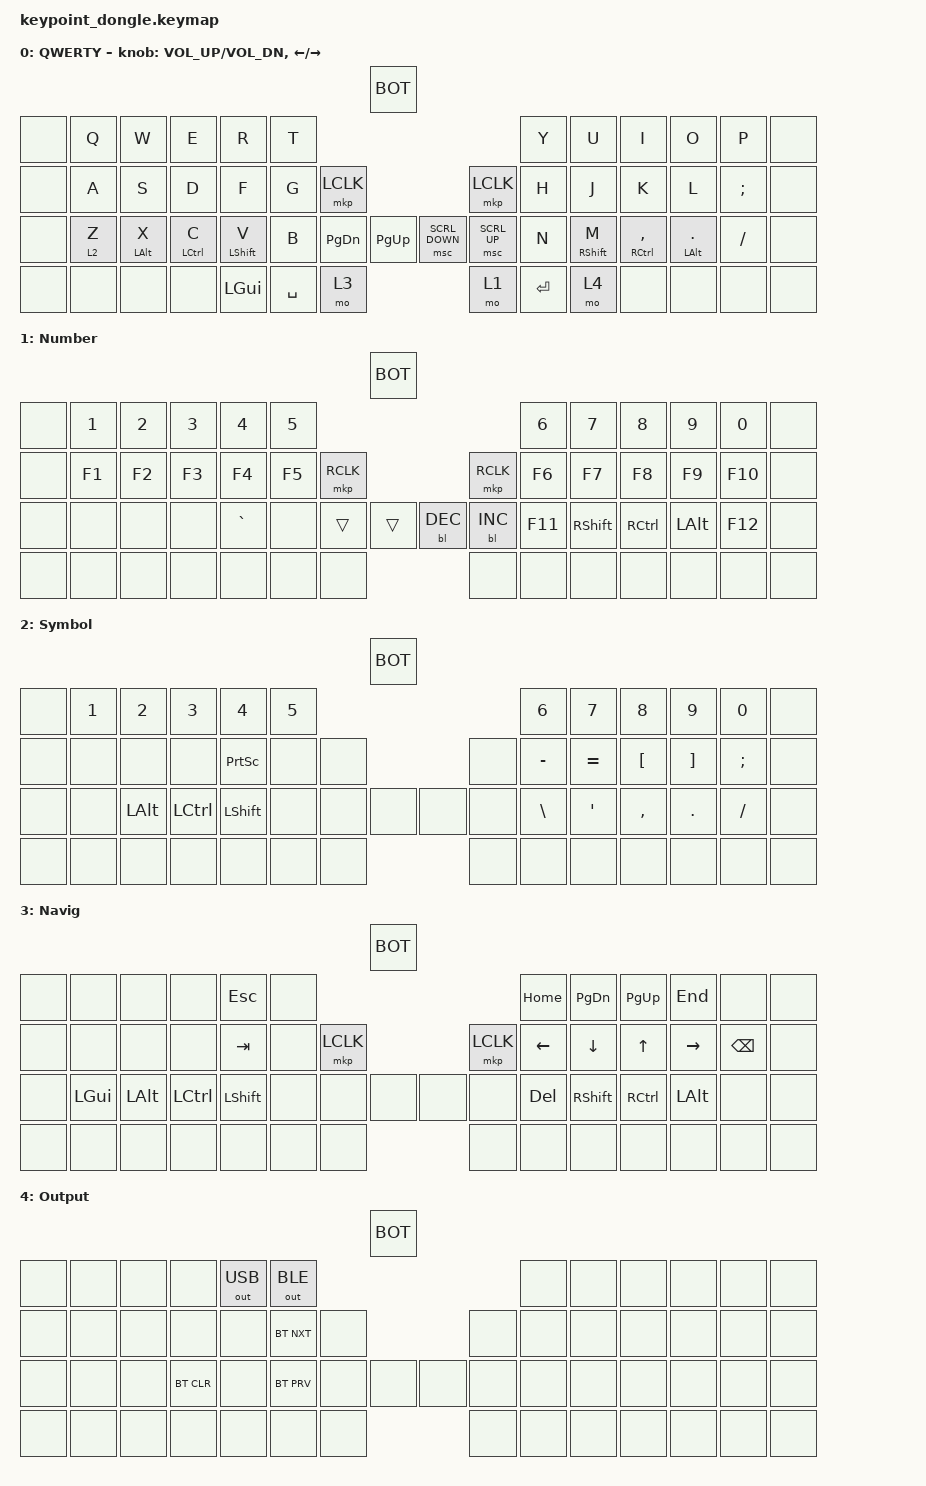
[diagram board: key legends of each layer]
/*
 * Copyright (c) 2025 ZitaoTech
 *
 * SPDX-License-Identifier: MIT
 */

#include <behaviors.dtsi>
#include <dt-bindings/zmk/keys.h>
#include <dt-bindings/zmk/bt.h>
#include <dt-bindings/zmk/outputs.h>
#include <dt-bindings/zmk/pointing.h>
#include <dt-bindings/zmk/mouse.h>
#include <dt-bindings/zmk/backlight.h>
#include <dt-bindings/zmk/ext_power.h>
#include <dt-bindings/zmk/rgb.h>
#include <behaviors/mouse_key_toggle.dtsi> // for &mktg

#define LOWER 1
#define RAISE 2
#define MOUSE 3
#define BOT bootloader

/ {
    input_processors {

        zip_temp_layer: zip_temp_layer {
            compatible = "zmk,input-processor-temp-layer";
            #input-processor-cells = <2>;
        };

        ip_behaviors0: ip_behaviors0 {
            compatible = "zmk,input-processor-behaviors";
            #input-processor-cells = <0>;
            type = <INPUT_EV_KEY>;
            codes = <INPUT_BTN_0>;
            bindings = <&kp RIGHT>;
        };
        ip_behaviors1: ip_behaviors1 {
            compatible = "zmk,input-processor-behaviors";
            #input-processor-cells = <0>;
            type = <INPUT_EV_KEY>;
            codes = <INPUT_BTN_1>;
            bindings = <&kp LEFT>;
        };
        ip_behaviors2: ip_behaviors2 {
            compatible = "zmk,input-processor-behaviors";
            #input-processor-cells = <0>;
            type = <INPUT_EV_KEY>;
            codes = <INPUT_BTN_2>;
            bindings = <&kp DOWN>;
        };
        ip_behaviors3: ip_behaviors3 {
            compatible = "zmk,input-processor-behaviors";
            #input-processor-cells = <0>;
            type = <INPUT_EV_KEY>;
            codes = <INPUT_BTN_3>;
            bindings = <&kp UP>;
        };
    };
};


/ {
    behaviors {
        td0: tap_dance_0 {
            compatible = "zmk,behavior-tap-dance";
            #binding-cells = <0>;
            tapping-term-ms = <400>;
            bindings = <&mkp LCLK>, <&bt BT_CLR>;
        };
    };
    behaviors {
        tdRMCLK: tap_dance_R_LMouse {
            compatible = "zmk,behavior-tap-dance";
            #binding-cells = <0>;
            tapping-term-ms = <400>;
            bindings = <&mkp RCLK>, <&mkp MCLK>;
        };
    };

    behaviors {
        hm: homerow_mods {
            compatible = "zmk,behavior-hold-tap";
            #binding-cells = <2>;
            tapping-term-ms = <500>;
            bindings = <&kp &kp>;
        };
    };

    behaviors {
         LMouse_sc: behavior_LMouse_Scroll {
           compatible = "zmk,behavior-hold-tap";
           #binding-cells = <2>;
           flavor = "tap-preferred";     /* 单击优先 */
           tapping-term-ms = <200>;       /* 长按阈值 */
           bindings = <&none &mkp>;        /* hold=none, tap=Lmouse */
        };
    };

    behaviors {
         M_kp: behavior_mouse_keypress {
           compatible = "zmk,behavior-hold-tap";
           #binding-cells = <2>;
           flavor = "tap-preferred";     /* 单击优先 */
           tapping-term-ms = <200>;       /* 长按阈值 */
           bindings = <&mkp &kp>;        /* hold=mou key press, tap=key*/
        };
    };

    behaviors {
        BLE_encoder: BLE_encoder {
            compatible = "zmk,behavior-sensor-rotate";
            #sensor-binding-cells = <0>;
            bindings = <&bt BT_NXT>, <&bt BT_PRV>;
        };
    };

    behaviors {
        hml: home_row_mod_left {
            display-name = "hml";
            compatible = "zmk,behavior-hold-tap";
            #binding-cells = <2>;
            flavor = "balanced";
            require-prior-idle-ms = <150>;
            tapping-term-ms = <200>;
            quick-tap-ms = <175>;
            bindings = <&kp>, <&kp>;
            hold-trigger-key-positions = < 
                7	8	9	10	11	12
                21	22	23	24	25	26
                37	38	39	40	41	42
            >; // List of keys on the right side of the keyboard, optimized for key 43(v)
            hold-trigger-on-release;
        };
        hmr: home_row_mod_right {
            display-name = "hmr";
            compatible = "zmk,behavior-hold-tap";
            #binding-cells = <2>;
            flavor = "balanced";
            require-prior-idle-ms = <150>;
            tapping-term-ms = <200>;
            quick-tap-ms = <175>;
            bindings = <&kp>, <&kp>;
            hold-trigger-key-positions = <
                1	2	3	4	5   6
                13	14	15	16	17	18 
                27	28	29	30  31	32
            >; // List of keys on the left side of the keyboard
            hold-trigger-on-release;
        };
    };

    combos {
        compatible = "zmk,combos";

        combo_caps_word {
            timeout-ms = <50>;
            key-positions = <49 50>;
            bindings = <&caps_word>;
        };

        combo_default_layer {
            timeout-ms = <50>;
            key-positions = <6 12>;
            bindings = <&to 0>;
        }; 
    };   

    keymap {
        compatible = "zmk,keymap";

         default_layer {
            display-name = "QWERTY";    
            bindings = <
                                                                                                                                        &BOT
//|------------------|------------------|------------------|------------------|------------------|------------------|------------------|------------------|------------------|------------------|------------------|------------------|------------------|------------------|------------------
   &none              &kp Q              &kp W              &kp E              &kp R              &kp T                                                                       &kp Y              &kp U              &kp I              &kp O              &kp P              &none
//|------------------|------------------|------------------|------------------|------------------|------------------|------------------|------------------|------------------|------------------|------------------|------------------|------------------|------------------|------------------
   &none              &kp A              &kp S              &kp D              &kp F              &kp G              &mkp LCLK                             &mkp LCLK          &kp H              &kp J              &kp K              &kp L              &kp SEMI           &none
//|------------------|------------------|------------------|------------------|------------------|------------------|------------------|------------------|------------------|------------------|------------------|------------------|------------------|------------------|------------------
   &none              &lt 2 Z            &hml LALT X        &hml LCTRL C       &hml LSHFT V       &kp B              &kp PG_DN  &kp PG_UP       &msc SCRL_DOWN  &msc SCRL_UP  &kp N              &hmr RSHFT M       &hmr RCTRL COMMA   &hmr LALT DOT      &kp FSLH           &none
//|------------------|------------------|------------------|------------------|------------------|------------------|------------------|------------------|------------------|------------------|------------------|------------------|------------------|------------------|------------------
   &none              &none              &none              &none              &kp LGUI           &kp SPACE          &mo 3                                 &mo 1              &kp ENTER          &mo 4              &none              &none              &none              &none
//|------------------|------------------|------------------|------------------|------------------|------------------|------------------|------------------|------------------|------------------|------------------|------------------|------------------|------------------|------------------
            >;
            sensor-bindings = <&inc_dec_kp C_VOL_UP C_VOL_DN &inc_dec_kp LEFT RIGHT>;
        };

        Number {
            display-name = "Number";
            bindings = <
                                                                                                                                        &BOT
//|------------------|------------------|------------------|------------------|------------------|------------------|------------------|------------------|------------------|------------------|------------------|------------------|------------------|------------------|------------------
   &none              &kp N1             &kp N2             &kp N3             &kp N4             &kp N5                                                                      &kp N6             &kp N7             &kp N8             &kp N9             &kp N0             &none
//|------------------|------------------|------------------|------------------|------------------|------------------|------------------|------------------|------------------|------------------|------------------|------------------|------------------|------------------|------------------
   &none              &kp F1             &kp F2             &kp F3             &kp F4             &kp F5             &mkp RCLK                             &mkp RCLK          &kp F6             &kp F7             &kp F8             &kp F9             &kp F10            &none
//|------------------|------------------|------------------|------------------|------------------|------------------|------------------|------------------|------------------|------------------|------------------|------------------|------------------|------------------|------------------
   &none              &none              &none              &none              &kp GRAVE          &none              &trans  &trans                   &bl BL_DEC  &bl BL_INC  &kp F11            &kp RSHFT          &kp RCTRL          &kp LALT           &kp F12            &none
//|------------------|------------------|------------------|------------------|------------------|------------------|------------------|------------------|------------------|------------------|------------------|------------------|------------------|------------------|------------------
   &none              &none              &none              &none              &none              &none              &none                                 &none              &none              &none              &none              &none              &none              &none 
//|------------------|------------------|------------------|------------------|------------------|------------------|------------------|------------------|------------------|------------------|------------------|------------------|------------------|------------------|------------------
            >;
        };

        Symbol {
            display-name = "Symbol";
            bindings = <
                                                                                                                                        &BOT
//|------------------|------------------|------------------|------------------|------------------|------------------|------------------|------------------|------------------|------------------|------------------|------------------|------------------|------------------|------------------
   &none              &kp N1             &kp N2             &kp N3             &kp N4             &kp N5                                                                      &kp N6             &kp N7             &kp N8             &kp N9             &kp N0             &none
//|------------------|------------------|------------------|------------------|------------------|------------------|------------------|------------------|------------------|------------------|------------------|------------------|------------------|------------------|------------------
   &none              &none              &none              &none              &kp PSCRN          &none              &none                                 &none              &kp MINUS          &kp EQUAL          &kp LBKT           &kp RBKT           &kp SEMI           &none            
//|------------------|------------------|------------------|------------------|------------------|------------------|------------------|------------------|------------------|------------------|------------------|------------------|------------------|------------------|------------------
   &none              &none              &kp LALT           &kp LCTRL          &kp LSHFT          &none              &none  &none                               &none  &none  &kp BSLH           &kp APOS           &kp COMMA          &kp DOT            &kp FSLH           &none            
//|------------------|------------------|------------------|------------------|------------------|------------------|------------------|------------------|------------------|------------------|------------------|------------------|------------------|------------------|------------------
   &none              &none              &none              &none              &none              &none              &none                                 &none              &none              &none              &none              &none              &none              &none 
//|------------------|------------------|------------------|------------------|------------------|------------------|------------------|------------------|------------------|------------------|------------------|------------------|------------------|------------------|------------------
            >;
        };

        Navigation {
            display-name = "Navig";
            bindings = <
                                                                                                                                        &BOT
//|------------------|------------------|------------------|------------------|------------------|------------------|------------------|------------------|------------------|------------------|------------------|------------------|------------------|------------------|------------------
   &none              &none              &none              &none              &kp ESC            &none                                                                       &kp HOME           &kp PG_DN          &kp PG_UP          &kp END            &none              &none            
//|------------------|------------------|------------------|------------------|------------------|------------------|------------------|------------------|------------------|------------------|------------------|------------------|------------------|------------------|------------------
   &none              &none              &none              &none              &kp TAB            &none              &mkp LCLK                             &mkp LCLK          &kp LEFT           &kp DOWN           &kp UP             &kp RIGHT          &kp BACKSPACE      &none            
//|------------------|------------------|------------------|------------------|------------------|------------------|------------------|------------------|------------------|------------------|------------------|------------------|------------------|------------------|------------------
   &none              &kp LGUI           &kp LALT           &kp LCTRL          &kp LSHFT          &none              &none  &none                               &none  &none  &kp DEL            &kp RSHFT          &kp RCTRL          &kp LALT           &none              &none            
//|------------------|------------------|------------------|------------------|------------------|------------------|------------------|------------------|------------------|------------------|------------------|------------------|------------------|------------------|------------------
   &none              &none              &none              &none              &none              &none              &none                                 &none              &none              &none              &none              &none              &none              &none 
//|------------------|------------------|------------------|------------------|------------------|------------------|------------------|------------------|------------------|------------------|------------------|------------------|------------------|------------------|------------------
            >;
        };

        Output {
            display-name = "Output";
            bindings = <
                                                                                                                                        &BOT
//|------------------|------------------|------------------|------------------|------------------|------------------|------------------|------------------|------------------|------------------|------------------|------------------|------------------|------------------|------------------
   &none              &none              &none              &none              &out OUT_USB       &out OUT_BLE                                                                &none              &none              &none              &none              &none              &none            
//|------------------|------------------|------------------|------------------|------------------|------------------|------------------|------------------|------------------|------------------|------------------|------------------|------------------|------------------|------------------
   &none              &none              &none              &none              &none              &bt BT_NXT         &none                                 &none              &none              &none              &none              &none              &none              &none            
//|------------------|------------------|------------------|------------------|------------------|------------------|------------------|------------------|------------------|------------------|------------------|------------------|------------------|------------------|------------------
   &none              &none              &none              &bt BT_CLR         &none              &bt BT_PRV         &none  &none                               &none  &none  &none              &none              &none              &none              &none              &none            
//|------------------|------------------|------------------|------------------|------------------|------------------|------------------|------------------|------------------|------------------|------------------|------------------|------------------|------------------|------------------
   &none              &none              &none              &none              &none              &none              &none                                 &none              &none              &none              &none              &none              &none              &none 
//|------------------|------------------|------------------|------------------|------------------|------------------|------------------|------------------|------------------|------------------|------------------|------------------|------------------|------------------|------------------
            >;
        };

    };
};
